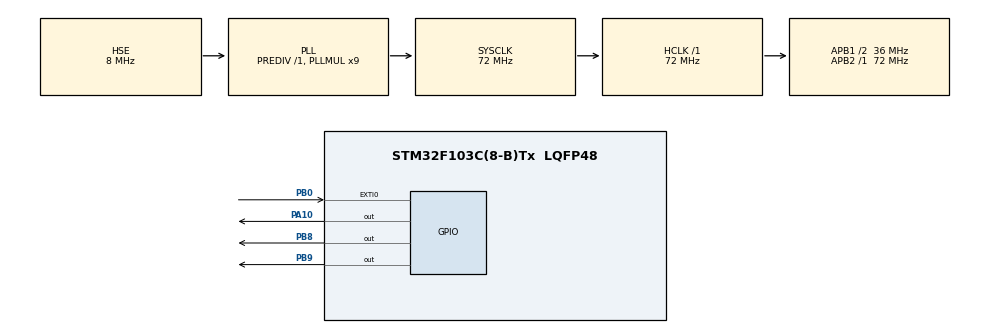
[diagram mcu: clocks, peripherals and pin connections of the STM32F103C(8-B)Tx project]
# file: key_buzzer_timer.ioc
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Mcu.Family=STM32F1
Mcu.Name=STM32F103C(8-B)Tx
Mcu.Package=LQFP48
NVIC.EXTI0_IRQn=true\:0\:0\:false\:false\:true\:true\:true\:true
NVIC.PriorityGroup=NVIC_PRIORITYGROUP_4
NVIC.TIM4_IRQn=true\:1\:0\:true\:false\:true\:true\:true\:true
PA10.GPIO_PuPd=GPIO_NOPULL
PA10.PinState=GPIO_PIN_SET
PA10.Signal=GPIO_Output
PA13.Mode=Serial_Wire
PA13.Signal=SYS_JTMS-SWDIO
PA14.Mode=Serial_Wire
PA14.Signal=SYS_JTCK-SWCLK
PB0.GPIO_ModeDefaultEXTI=GPIO_MODE_IT_FALLING
PB0.GPIO_PuPd=GPIO_PULLUP
PB0.Signal=GPXTI0
PB8.Signal=GPIO_Output
PB9.Signal=GPIO_Output
PC14-OSC32_IN.Mode=LSE-External-Oscillator
PC14-OSC32_IN.Signal=RCC_OSC32_IN
PC15-OSC32_OUT.Mode=LSE-External-Oscillator
PC15-OSC32_OUT.Signal=RCC_OSC32_OUT
PD0-OSC_IN.Mode=HSE-External-Oscillator
PD0-OSC_IN.Signal=RCC_OSC_IN
PD1-OSC_OUT.Mode=HSE-External-Oscillator
PD1-OSC_OUT.Signal=RCC_OSC_OUT
ProjectManager.HeapSize=0x200
ProjectManager.StackSize=0x400
ProjectManager.TargetToolchain=MDK-ARM V5.32
RCC.AHBFreq_Value=72000000
RCC.APB1CLKDivider=RCC_HCLK_DIV2
RCC.APB1Freq_Value=36000000
RCC.APB1TimFreq_Value=72000000
RCC.APB2Freq_Value=72000000
RCC.APB2TimFreq_Value=72000000
RCC.HCLKFreq_Value=72000000
RCC.PLLMUL=RCC_PLL_MUL9
RCC.PLLSourceVirtual=RCC_PLLSOURCE_HSE
RCC.SYSCLKFreq_VALUE=72000000
RCC.SYSCLKSource=RCC_SYSCLKSOURCE_PLLCLK
RCC.USBFreq_Value=72000000
TIM4.Period=9999
TIM4.Prescaler=7199
VP_TIM4_VS_ClockSourceINT.Mode=Internal
board=custom

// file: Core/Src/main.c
/* USER CODE BEGIN Header */
/**
  ******************************************************************************
  * @file           : main.c
  * @brief          : Main program body
  ******************************************************************************
  * @attention
  *
  * Copyright (c) 2026 STMicroelectronics.
  * All rights reserved.
  *
  * This software is licensed under terms that can be found in the LICENSE file
  * in the root directory of this software component.
  * If no LICENSE file comes with this software, it is provided AS-IS.
  *
  ******************************************************************************
  */
/* USER CODE END Header */
#include "main.h"
#include "tim.h"
#include "gpio.h"

/* USER CODE BEGIN Includes */
#include "oled.h"
/* USER CODE END Includes */

/* USER CODE BEGIN PV */
volatile uint16_t time=0;
volatile uint16_t flag=0;
/* USER CODE END PV */

void SystemClock_Config(void);

int main(void)
{

  /* MCU Configuration--------------------------------------------------------*/

  /* Reset of all peripherals, Initializes the Flash interface and the Systick. */
  HAL_Init();

  /* Configure the system clock */
  SystemClock_Config();

  /* Initialize all configured peripherals */
  MX_GPIO_Init();
  MX_TIM4_Init();
  /* USER CODE BEGIN 2 */
  OLED_Init();
  	OLED_Clear(0x00);//清空屏幕
    OLED_ShowString(1,1,"time:",16);
  /* USER CODE END 2 */

  /* Infinite loop */
  /* USER CODE BEGIN WHILE */
  while (1)
  {
	  OLED_ShowNum(40,1,time,5,16);
	  if(flag==1)
	  {
		  HAL_Delay(20);//消抖
		  if(HAL_GPIO_ReadPin(GPIOB,GPIO_PIN_0)==GPIO_PIN_RESET)
		  {
			  time=0;
			  HAL_GPIO_WritePin(GPIOA,GPIO_PIN_10,GPIO_PIN_SET);//输出高电平关闭蜂鸣器
			  HAL_TIM_Base_Start_IT(&htim4); //打开时钟
		  }

	  }
	  flag=0;//标志归零
	  if(time==5)
	  {
	      HAL_TIM_Base_Stop_IT(&htim4);//关闭时钟，停止计时
	      HAL_GPIO_WritePin(GPIOA,GPIO_PIN_10,GPIO_PIN_RESET);//输出低电平开启蜂鸣器
	  }

    /* USER CODE END WHILE */

  }
}

void SystemClock_Config(void)
{
  RCC_OscInitTypeDef RCC_OscInitStruct = {0};
  RCC_ClkInitTypeDef RCC_ClkInitStruct = {0};

  /** Initializes the RCC Oscillators according to the specified parameters
  * in the RCC_OscInitTypeDef structure.
  */
  RCC_OscInitStruct.OscillatorType = RCC_OSCILLATORTYPE_HSE;
  RCC_OscInitStruct.HSEState = RCC_HSE_ON;
  RCC_OscInitStruct.HSEPredivValue = RCC_HSE_PREDIV_DIV1;
  RCC_OscInitStruct.HSIState = RCC_HSI_ON;
  RCC_OscInitStruct.PLL.PLLState = RCC_PLL_ON;
  RCC_OscInitStruct.PLL.PLLSource = RCC_PLLSOURCE_HSE;
  RCC_OscInitStruct.PLL.PLLMUL = RCC_PLL_MUL9;
  if (HAL_RCC_OscConfig(&RCC_OscInitStruct) != HAL_OK)
  {
    Error_Handler();
  }

  /** Initializes the CPU, AHB and APB buses clocks
  */
  RCC_ClkInitStruct.ClockType = RCC_CLOCKTYPE_HCLK|RCC_CLOCKTYPE_SYSCLK
                              |RCC_CLOCKTYPE_PCLK1|RCC_CLOCKTYPE_PCLK2;
  RCC_ClkInitStruct.SYSCLKSource = RCC_SYSCLKSOURCE_PLLCLK;
  RCC_ClkInitStruct.AHBCLKDivider = RCC_SYSCLK_DIV1;
  RCC_ClkInitStruct.APB1CLKDivider = RCC_HCLK_DIV2;
  RCC_ClkInitStruct.APB2CLKDivider = RCC_HCLK_DIV1;

  if (HAL_RCC_ClockConfig(&RCC_ClkInitStruct, FLASH_LATENCY_2) != HAL_OK)
  {
    Error_Handler();
  }
}

/* USER CODE BEGIN 4 */
void HAL_GPIO_EXTI_Callback(uint16_t GPIO_Pin)//按下按键开启中断
{
    if(GPIO_Pin==GPIO_PIN_0)
    {
       flag=1;

    }
}
void HAL_TIM_PeriodElapsedCallback(TIM_HandleTypeDef *htim)//计时器计时1s后开始中断
{
	if(htim==&htim4)
	{
	time++;//时间加1s
	}
}
/* USER CODE END 4 */

void Error_Handler(void)
{
  __disable_irq();
  while (1)
  {
  }
}
